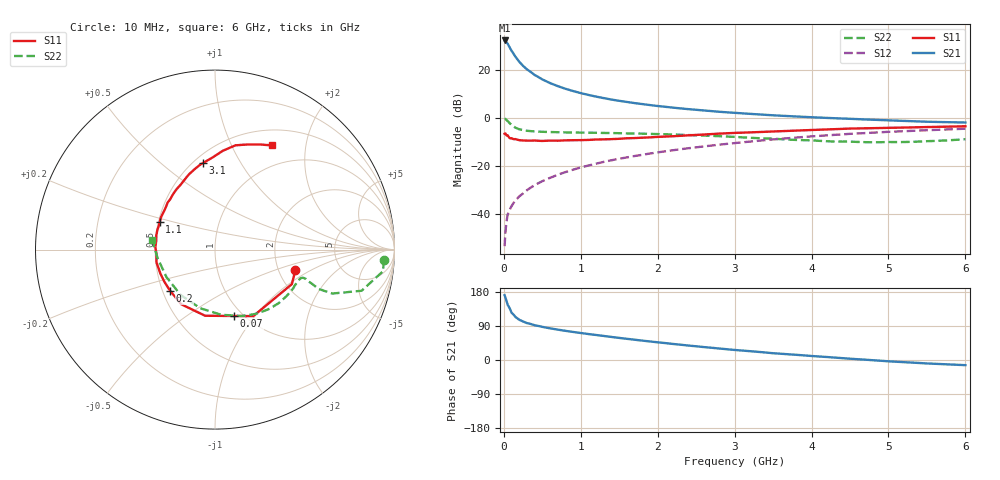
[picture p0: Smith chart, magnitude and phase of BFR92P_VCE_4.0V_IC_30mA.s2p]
! Infineon Technologies  Discrete & RF Semiconductors
! BFR92P
! VCE =  4.0 V,  IC =  30 mA
! Common Emitter S-Parameters:  Apr 2014
# GHz  S  MA  R  50
!  f  S11  S21  S12  S22
! GHz  MAG  ANG  MAG  ANG  MAG  ANG  MAG  ANG
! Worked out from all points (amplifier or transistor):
!   77 points, 10 MHz to 6 GHz, reference 50 ohm
!   highest |S21| = 32.2 dB at 10 MHz (marker M1)
!   |S21| within 3 dB of that: start of sweep to 77.54 MHz
!   unconditionally stable (mu >= 1): 291 MHz to 2.331 GHz
!   at 130 MHz: K = 0.72, MSG = 30.9 dB, |S12| = -35.4 dB
!   at 2.2 GHz: K = 1.01, MAG = 8.2 dB, |S12| = -13.6 dB
!   at 6 GHz: K = 0.91, MSG = 1.3 dB, |S12| = -4.6 dB
!   S11 on the Smith chart (normalised r, x): 10 MHz: 2.47, -0.73; 70 MHz: 0.91, -0.79; 200 MHz: 0.55, -0.28; 1.1 GHz: 0.51, +0.18; 3.1 GHz: 0.56, +0.70; 6 GHz: 0.70, +1.44
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0.01  0.4623 -14.5  40.57 171.0  0.0021 82.0  0.9417 -3.5
0.02  0.4695 -24.2  40.4 164.8  0.004 87.4  0.9445 -7.3
0.05  0.4275 -60.1  34.67 145.4  0.0096 70.2  0.8481 -15.7
0.07  0.3846 -74.0  30.25 138.7  0.0115 67.1  0.7875 -17.4
0.1  0.3727 -98.5  24.73 124.6  0.0143 63.9  0.6983 -20.5
0.15  0.358 -121.8  18.65 113.7  0.0188 64.8  0.6183 -20.8
0.2  0.3393 -137.5  14.6 106.2  0.0228 67.1  0.5727 -19.4
0.25  0.3342 -147.6  11.99 101.6  0.0263 68.8  0.5505 -18.8
0.3  0.3324 -156.1  10.15 97.4  0.0308 71.2  0.5327 -17.9
0.4  0.3337 -167.7  7.754 91.8  0.0391 72.5  0.516 -17.7
0.5  0.3269 -175.6  6.263 87.4  0.0474 74.3  0.5075 -18.1
0.6  0.3324 177.8  5.257 83.6  0.0556 75.3  0.5013 -18.8
0.7  0.331 172.0  4.54 80.2  0.0645 75.7  0.4976 -19.8
0.8  0.3364 166.4  3.997 77.0  0.0733 75.9  0.4934 -21.3
0.9  0.3391 161.4  3.583 74.0  0.0824 75.7  0.49 -22.9
1.1  0.3436 153.7  2.971 68.5  0.1006 75.2  0.4868 -26.2
1.5  0.3624 138.8  2.241 58.3  0.1393 72.6  0.4742 -33.7
2.1  0.4031 120.4  1.681 44.6  0.1992 67.6  0.4499 -46.1
3.1  0.4866 98.0  1.23 24.9  0.3059 56.2  0.3887 -71.5
4.1  0.5601 84.0  1.004 9.2  0.4171 43.1  0.3286 -108.5
5.1  0.6172 71.6  0.867 -4.6  0.5138 28.2  0.3098 -154.9
6  0.6617 61.4  0.792 -13.6  0.5883 15.0  0.3557 170.9
